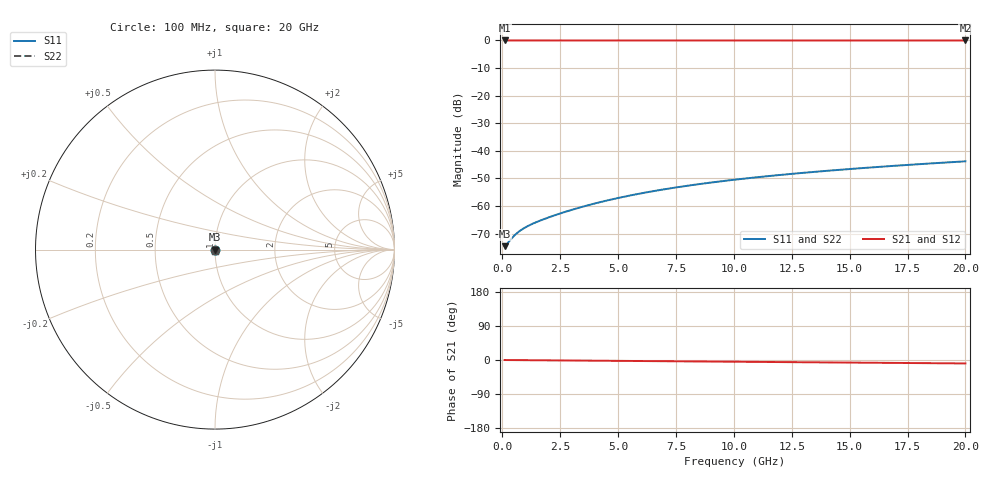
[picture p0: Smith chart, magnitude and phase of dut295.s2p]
! Touchstone file exported from HFSS 2026.1.0
!  File:  C:/ffzhzh/LocalFiles/Ansys_Project_Files/temp_train_TSV_295_1782993867_6248.aedt
!  Generated:  08:06:05 PM Jul  2, 2026
!  Design:  TSV
!  Project:  temp_train_TSV_295_1782993867_6248
! Variables:
!  h_bsmrdl = 2um
!  h_ox = 20um
!  h_rdl = 5um
!  h_sub = 95.47um
!  h_tmrdl = 5um
!  h_tsv = 95.47um
!  h_via = 3um
!  l_bsmrdl = 300um
!  l_sub = 417.38um
!  l_tmrdl = 200um
!  m_sub = 200um
!  pitch = 34.07um
!  r_tsv = 8.69um
!  s_tmrdl = 10um
!  w_bsmrdl = 18um
!  w_sub = 500um
!  w_tmrdl = 12um
!  x_tsv_center1 = 206um
!  x_tsv_center2 = 524um
!  x_tsv_center3 = 736um
!  x_tsv_center4 = 1054um
!  x_tsv_center5 = 1266um
!  x_tsv_center6 = 1584um
# GHz S MA R 50.000000
! Terminal data exported
! Port[1] = TSV1_1_T1
! Port[2] = TSV1_1_T2
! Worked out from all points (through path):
!   200 points, 100 MHz to 20 GHz, reference 50 ohm
!   highest |S21| = 0.00 dB at 100 MHz (marker M1); lowest = 0.0 dB at 20 GHz (marker M2)
!   group delay of S21, straight-line fit = 1.26 ps
!   lowest |S11| = -74.5 dB at 100 MHz (marker M3), VSWR 1.00, Z = 50 + j0.00231 ohm
!   |S11| at or under -10 dB: start of sweep to end of sweep
!   |S22| runs from -74.5 to -43.8 dB; largest |S21 - S12| = 2.1e-15
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0.1  0.0001878 7.1  0.9998 -0.0  0.9998 -0.0  0.0001878 7.1
! Gamma 0 0 0 0
! Port Impedance 50 0 50 0
0.2  0.0002055 12.1  0.9998 -0.1  0.9998 -0.1  0.0002055 12.1
0.4  0.0002581 14.3  0.9998 -0.2  0.9998 -0.2  0.0002581 14.3
0.5  0.0002865 12.8  0.9997 -0.2  0.9997 -0.2  0.0002865 12.8
0.6  0.0003143 10.4  0.9997 -0.3  0.9997 -0.3  0.0003143 10.4
0.8  0.0003657 4.4  0.9996 -0.4  0.9996 -0.4  0.0003657 4.4
1.1  0.0004341 -5.0  0.9996 -0.5  0.9996 -0.5  0.0004341 -5.0
1.5  0.000518 -15.8  0.9995 -0.7  0.9995 -0.7  0.000518 -15.8
2.1  0.0006449 -28.1  0.9994 -1.0  0.9994 -1.0  0.0006449 -28.1
2.8  0.0008058 -37.9  0.9994 -1.3  0.9994 -1.3  0.0008058 -37.9
3.5  0.0009819 -44.8  0.9993 -1.6  0.9993 -1.6  0.0009819 -44.8
4.3  0.001199 -50.7  0.9992 -2.0  0.9992 -2.0  0.001199 -50.7
5.1  0.00143 -55.1  0.9991 -2.3  0.9991 -2.3  0.00143 -55.1
5.9  0.001671 -58.7  0.9991 -2.7  0.9991 -2.7  0.001671 -58.7
6.8  0.001952 -62.1  0.999 -3.1  0.999 -3.1  0.001952 -62.1
8.4  0.002466 -66.8  0.9989 -3.8  0.9989 -3.8  0.002466 -66.8
10.1  0.003026 -70.7  0.9988 -4.6  0.9988 -4.6  0.003026 -70.7
11.7  0.003562 -73.7  0.9987 -5.3  0.9987 -5.3  0.003562 -73.7
13.4  0.004139 -76.3  0.9986 -6.1  0.9986 -6.1  0.004139 -76.3
15  0.004689 -78.4  0.9985 -6.8  0.9985 -6.8  0.004689 -78.4
16.7  0.005282 -80.3  0.9984 -7.6  0.9984 -7.6  0.005282 -80.3
20  0.00646 -83.5  0.9982 -9.1  0.9982 -9.1  0.00646 -83.5
